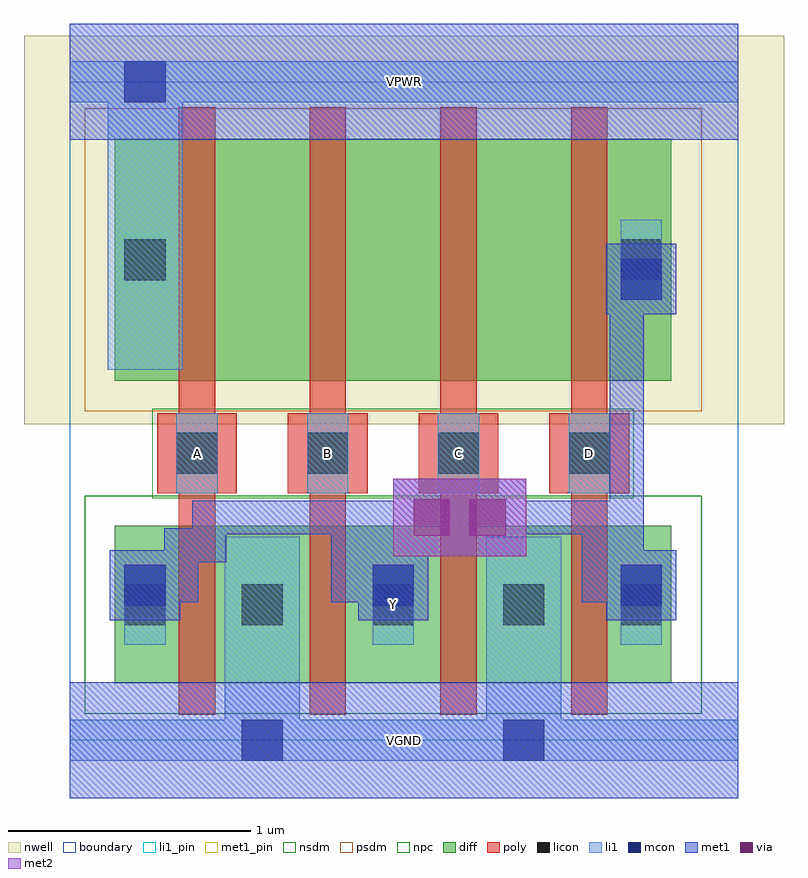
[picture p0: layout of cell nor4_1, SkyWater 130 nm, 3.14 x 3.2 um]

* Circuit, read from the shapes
.subckt nor4_1 A B C D VGND VPWR Y
XM1 VGND A Y VSUBS sky130_fd_pr__nfet_01v8 w=0.65 l=0.15
XM2 Y B VGND VSUBS sky130_fd_pr__nfet_01v8 w=0.65 l=0.15
XM3 VGND C Y VSUBS sky130_fd_pr__nfet_01v8 w=0.65 l=0.15
XM4 Y D VGND VSUBS sky130_fd_pr__nfet_01v8 w=0.65 l=0.15
XM5 n1 A VPWR n2 sky130_fd_pr__pfet_01v8 w=1 l=0.15
XM6 n3 B n1 n2 sky130_fd_pr__pfet_01v8 w=1 l=0.15
XM7 n4 C n3 n2 sky130_fd_pr__pfet_01v8 w=1 l=0.15
XM8 Y D n4 n2 sky130_fd_pr__pfet_01v8 w=1 l=0.15
.ends

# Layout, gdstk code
import gdstk
lib = gdstk.Library(unit=1e-6, precision=1e-09)
def R(c, l, rs):  # rectangles x0, y0, x1, y1
    for r in rs: c.add(gdstk.rectangle(r[:2], r[2:], *l))
def A(c, l, x, y, w, h, nx, ny, dx, dy):  # array of equal rectangles
    R(c, l, [(x+i*dx, y+j*dy, x+i*dx+w, y+j*dy+h) for i in range(nx) for j in range(ny)])
nwell = (64, 20)
diff = (65, 20)
poly = (66, 20)
licon = (66, 44)
li1_pin = (67, 16)
li1 = (67, 20)
mcon = (67, 44)
met1_pin = (68, 16)
met1 = (68, 20)
via = (68, 44)
met2 = (69, 20)
nsdm = (93, 44)
psdm = (94, 20)
npc = (95, 20)
boundary = (235, 4)

nor4_1 = lib.new_cell('nor4_1')
R(nor4_1, nwell, [(-0.19,1.305,2.95,2.91), (0,1.305,2.76,2.91)])
R(nor4_1, diff, [(0.185,0.235,2.485,0.885), (0.185,1.485,2.485,2.485)])
A(nor4_1, poly, 0.45, 0.105, 0.15, 2.51, 4, 1, 0.54, 0)
A(nor4_1, poly, 0.36, 1.02, 0.33, 0.33, 4, 1, 0.54, 0)
A(nor4_1, licon, 0.71, 0.475, 0.17, 0.17, 3, 1, 0.54, 0)
A(nor4_1, licon, 0.44, 1.1, 0.17, 0.17, 4, 1, 0.54, 0)
R(nor4_1, licon, [(0.225,0.475,0.395,0.645), (2.275,0.475,2.445,0.645), (0.225,1.9,0.395,2.07), (2.275,1.9,2.445,2.07)])
A(nor4_1, li1_pin, 0.44, 1.02, 0.17, 0.33, 4, 1, 0.54, 0)
R(nor4_1, li1_pin, [(1.25,0.395,1.42,0.725)])
A(nor4_1, li1, 0.225, 0.395, 0.17, 0.33, 3, 1, 1.025, 0)
A(nor4_1, li1, 0.44, 1.02, 0.17, 0.33, 4, 1, 0.54, 0)
R(nor4_1, li1, [(0,-0.085,2.76,0.085), (0.64,-0.085,0.95,0.84), (1.72,-0.085,2.03,0.84), (0.155,1.53,0.465,2.805), (2.275,1.82,2.445,2.15), (0,2.635,2.76,2.805)])
A(nor4_1, mcon, 0.225, 0.555, 0.17, 0.17, 3, 1, 1.025, 0)
R(nor4_1, mcon, [(0.71,-0.085,0.88,0.085), (1.79,-0.085,1.96,0.085), (2.275,1.82,2.445,1.99), (0.225,2.635,0.395,2.805)])
R(nor4_1, met1_pin, [(0,-0.24,2.76,0.24), (0,2.48,2.76,2.96)])
A(nor4_1, met1, 0.165, 0.495, 0.29, 0.29, 3, 1, 1.025, 0)
R(nor4_1, met1, [(0,-0.24,2.76,0.24), (0.24,0.57,0.53,0.71), (0.39,0.57,0.53,0.875), (1.08,0.57,1.22,0.875), (1.08,0.57,1.405,0.71), (2.115,0.57,2.255,0.875), (2.115,0.57,2.43,0.71), (0.39,0.735,0.645,0.875), (0.505,0.735,0.645,0.99), (1.08,0.735,1.22,0.99), (2.115,0.735,2.255,0.99), (1.22,0.76,1.335,0.875), (1.22,0.76,1.335,0.99), (1.335,0.76,1.655,1.08), (1.565,0.76,1.885,1.08), (1.19,0.785,1.48,0.85), (2.215,0.785,2.37,0.85), (2.23,0.785,2.37,0.85), (0.505,0.85,1.22,0.99), (1.08,0.85,1.565,0.99), (1.655,0.85,2.255,0.99), (2.115,0.85,2.37,0.99), (2.23,0.85,2.37,1.795), (2.23,1.655,2.37,1.975), (2.215,1.76,2.505,2.05), (2.23,1.835,2.43,1.975), (0,2.48,2.76,2.96)])
R(nor4_1, via, [(1.42,0.845,1.57,0.995), (1.65,0.845,1.8,0.995)])
R(nor4_1, met2, [(1.335,0.76,1.655,1.08), (1.565,0.76,1.885,1.08), (1.425,0.85,1.795,0.99)])
R(nor4_1, nsdm, [(0.06,0.11,2.61,1.01)])
R(nor4_1, psdm, [(0.06,1.36,2.61,2.61)])
R(nor4_1, npc, [(0.34,1,2.33,1.37)])
R(nor4_1, boundary, [(0,0,2.76,2.72)])
nor4_1.add(gdstk.Label('A', (0.525,1.185), layer=67, texttype=5))
nor4_1.add(gdstk.Label('B', (1.065,1.185), layer=67, texttype=5))
nor4_1.add(gdstk.Label('C', (1.605,1.185), layer=67, texttype=5))
nor4_1.add(gdstk.Label('D', (2.145,1.185), layer=67, texttype=5))
nor4_1.add(gdstk.Label('Y', (1.335,0.56), layer=67, texttype=5))
nor4_1.add(gdstk.Label('VPWR', (1.38,2.72), layer=68, texttype=5))
nor4_1.add(gdstk.Label('VGND', (1.38,0), layer=68, texttype=5))
nor4_1.add(gdstk.Label('A', (0.525,1.185), layer=67, texttype=16))
nor4_1.add(gdstk.Label('B', (1.065,1.185), layer=67, texttype=16))
nor4_1.add(gdstk.Label('C', (1.605,1.185), layer=67, texttype=16))
nor4_1.add(gdstk.Label('D', (2.145,1.185), layer=67, texttype=16))
nor4_1.add(gdstk.Label('Y', (1.335,0.56), layer=67, texttype=16))
nor4_1.add(gdstk.Label('VPWR', (1.38,2.72), layer=68, texttype=16))
nor4_1.add(gdstk.Label('VGND', (1.38,0), layer=68, texttype=16))

lib.write_gds('nor4_1.gds')
